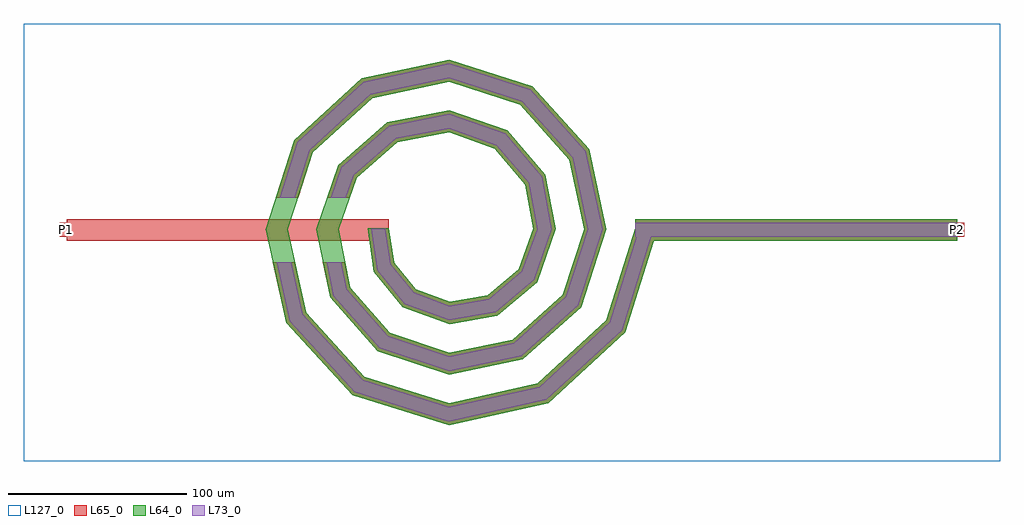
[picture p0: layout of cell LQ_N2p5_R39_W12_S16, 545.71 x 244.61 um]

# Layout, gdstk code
import gdstk
lib = gdstk.Library(unit=1e-6, precision=1e-09)
def R(c, l, rs):  # rectangles x0, y0, x1, y1
    for r in rs: c.add(gdstk.rectangle(r[:2], r[2:], *l))
def P(c, l, *ps):  # polygons
    for p in ps: c.add(gdstk.Polygon(p, *l))
L64_0 = (64, 0)
L65_0 = (65, 0)
L73_0 = (73, 0)
L127_0 = (127, 0)

lq_n2p5_r39_w12_s16 = lib.new_cell('LQ_N2p5_R39_W12_S16')
R(lq_n2p5_r39_w12_s16, L64_0, [(104.258,-6,284.258,6)])
P(lq_n2p5_r39_w12_s16, L64_0, [(-30.529,-18.378),(-18.458,-33.205),(0.586,-40.343),(21.834,-36.701),(39.289,-22.069),(47.418,0.509),(42.864,25.311),(25.662,45.385),(0.45,54.495),(-28.802,49.02),(-51.489,29.245),(-61.573,0.403),(-55.172,-32.303),(-32.819,-57.599),(0.365,-68.651),(35.812,-61.32),(63.713,-36.388),(75.731,0.334),(67.466,39.326),(39.952,69.83),(0.307,82.81),(-42.844,73.61),(-75.949,43.513),(-89.89,0.284),(-79.752,-46.366),(-47.07,-82.07),(0.265,-96.97),(49.889,-85.893),(88.193,-50.626),(104.53,1.785),(115.986,-1.785),(98.691,-57.272),(55.648,-96.903),(0.265,-109.384),(-53.747,-92.549),(-90.779,-52.091),(-102.302,0.284),(-86.406,50.223),(-48.532,84.657),(0.307,95.221),(46.703,80.261),(78.537,44.969),(88.139,0.334),(74.114,-43.186),(41.402,-72.418),(0.365,-81.056),(-39.674,-67.964),(-66.302,-37.83),(-73.974,0.403),(-61.809,36.168),(-34.251,60.19),(0.45,66.89),(32.67,55.649),(54.082,30.661),(59.805,0.509),(49.481,-29.183),(27.057,-47.981),(0.586,-52.719),(-25.712,-43.301),(-41.889,-23.432),(-45.379,0.919),(-33.521,0.919)])
R(lq_n2p5_r39_w12_s16, L65_0, [(-213.45,-6,-33.45,6), (104.258,-6,284.258,6), (-217.45,-4,-209.45,4), (280.258,-4,288.258,4)])
P(lq_n2p5_r39_w12_s16, L65_0, [(-79.752,-46.366),(-47.07,-82.07),(0.265,-96.97),(49.89,-85.893),(88.193,-50.626),(104.53,1.786),(115.986,-1.786),(98.691,-57.272),(55.648,-96.903),(0.265,-109.384),(-53.747,-92.549),(-90.78,-52.091),(-98.28,-18),(-85.993,-18)],
  [(-55.172,-32.304),(-32.82,-57.599),(0.365,-68.652),(35.812,-61.321),(63.713,-36.388),(75.731,0.334),(67.466,39.326),(39.952,69.83),(0.307,82.81),(-42.844,73.61),(-75.949,43.513),(-84.07,18),(-96.663,18),(-86.406,50.224),(-48.532,84.657),(0.307,95.221),(46.703,80.261),(78.537,44.969),(88.139,0.334),(74.114,-43.186),(41.402,-72.418),(0.365,-81.056),(-39.674,-67.964),(-66.303,-37.83),(-70.281,-18),(-58.042,-18)],
  [(-18.458,-33.205),(0.586,-40.343),(21.834,-36.701),(39.289,-22.069),(47.418,0.509),(42.864,25.311),(25.662,45.385),(0.45,54.495),(-28.802,49.02),(-51.489,29.245),(-55.314,18),(-67.989,18),(-61.81,36.168),(-34.251,60.19),(0.45,66.89),(32.67,55.649),(54.082,30.661),(59.805,0.509),(49.481,-29.183),(27.057,-47.981),(0.586,-52.719),(-25.713,-43.301),(-41.889,-23.432),(-45.379,0.919),(-33.521,0.919),(-30.529,-18.378)])
R(lq_n2p5_r39_w12_s16, L73_0, [(104.258,-4,284.258,4)])
P(lq_n2p5_r39_w12_s16, L73_0, [(-81.59,-47.32),(-48.183,-83.817),(0.177,-99.039),(50.849,-87.728),(89.943,-51.733),(106.439,1.19),(114.077,-1.19),(96.941,-56.164),(54.688,-95.068),(0.177,-107.315),(-52.634,-90.803),(-88.942,-51.137),(-96.232,-18),(-88.041,-18)],
  [(-57.027,-33.225),(-33.962,-59.326),(0.243,-70.719),(36.744,-63.17),(65.446,-37.521),(77.799,0.222),(69.311,40.267),(41.077,71.568),(0.205,84.879),(-43.792,75.451),(-77.692,44.631),(-86.169,18),(-94.565,18),(-84.664,49.105),(-47.584,82.816),(0.205,93.152),(45.578,78.523),(76.692,44.028),(86.071,0.222),(72.381,-42.053),(40.47,-70.569),(0.243,-78.989),(-38.532,-66.236),(-64.447,-36.909),(-68.241,-18),(-60.082,-18)],
  [(-19.667,-34.887),(0.391,-42.406),(22.704,-38.581),(40.987,-23.254),(49.482,0.339),(44.734,26.202),(26.83,47.096),(0.3,56.561),(-29.71,50.882),(-53.209,30.399),(-57.426,18),(-65.876,18),(-60.089,35.014),(-33.343,58.328),(0.3,64.824),(31.502,53.939),(52.212,29.769),(57.741,0.339),(47.783,-27.997),(26.187,-46.101),(0.391,-50.656),(-24.503,-41.618),(-39.995,-22.59),(-43.403,0.613),(-35.497,0.613),(-32.422,-19.221)])
R(lq_n2p5_r39_w12_s16, L127_0, [(-237.45,-129.384,308.258,115.221)])
lq_n2p5_r39_w12_s16.add(gdstk.Label('P2', (284.258,0), layer=65, texttype=0))
lq_n2p5_r39_w12_s16.add(gdstk.Label('P1', (-213.45,0), layer=65, texttype=0))
lq_n2p5_r39_w12_s16.add(gdstk.Label('P2', (288.258,0), layer=145, texttype=0))
lq_n2p5_r39_w12_s16.add(gdstk.Label('P1', (-217.45,0), layer=145, texttype=0))

lib.write_gds('LQ_N2p5_R39_W12_S16.gds')
